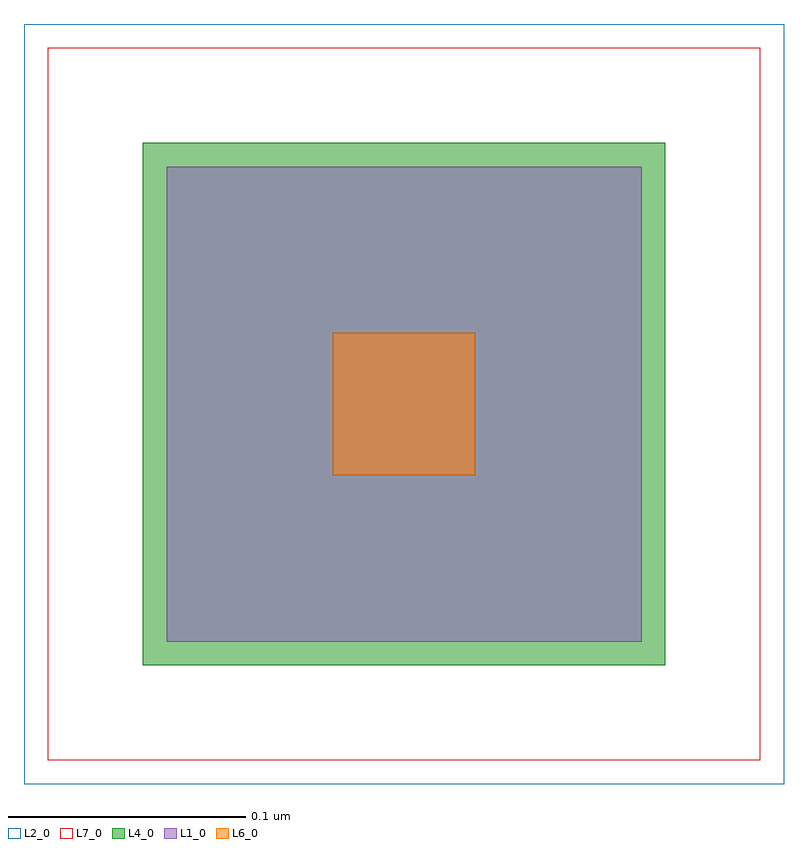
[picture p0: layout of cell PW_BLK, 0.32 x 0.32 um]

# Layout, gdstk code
import gdstk
lib = gdstk.Library(unit=1e-6, precision=5e-10)
def R(c, l, rs):  # rectangles x0, y0, x1, y1
    for r in rs: c.add(gdstk.rectangle(r[:2], r[2:], *l))
L1_0 = (1, 0)
L2_0 = (2, 0)
L4_0 = (4, 0)
L6_0 = (6, 0)
L7_0 = (7, 0)

pw_blk = lib.new_cell('PW_BLK')
R(pw_blk, L1_0, [(-0.1,-0.1,0.1,0.1)])
R(pw_blk, L2_0, [(-0.16,-0.16,0.16,0.16)])
R(pw_blk, L4_0, [(-0.11,-0.11,0.11,0.11)])
R(pw_blk, L6_0, [(-0.03,-0.03,0.03,0.03)])
R(pw_blk, L7_0, [(-0.15,-0.15,0.15,0.15), (-0.03,-0.03,0.03,0.03)])

lib.write_gds('PW_BLK.gds')
